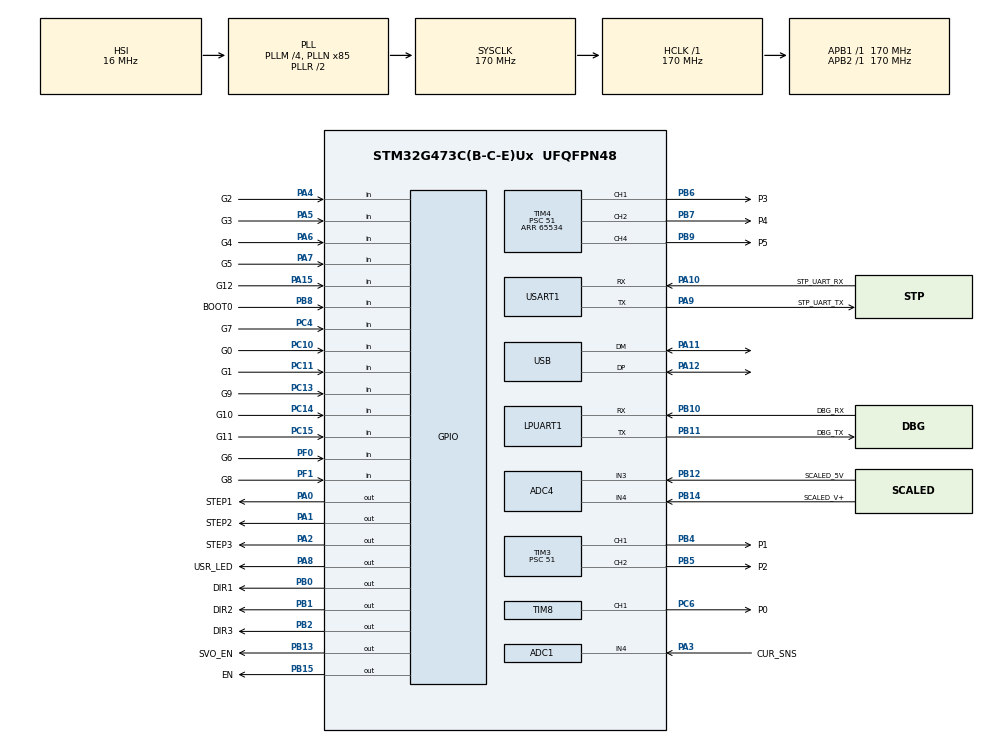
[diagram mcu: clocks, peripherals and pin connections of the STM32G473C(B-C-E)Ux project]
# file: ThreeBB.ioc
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ADC1.Channel-0\#ChannelRegularConversion=ADC_CHANNEL_4
ADC1.NbrOfConversionFlag=1
ADC1.OffsetNumber-0\#ChannelRegularConversion=ADC_OFFSET_NONE
ADC1.Rank-0\#ChannelRegularConversion=1
ADC1.SamplingTime-0\#ChannelRegularConversion=ADC_SAMPLETIME_24CYCLES_5
ADC1.master=1
ADC4.Channel-0\#ChannelRegularConversion=ADC_CHANNEL_3
ADC4.Channel-1\#ChannelRegularConversion=ADC_CHANNEL_4
ADC4.ContinuousConvMode=DISABLE
ADC4.DMAContinuousRequests=DISABLE
ADC4.EOCSelection=ADC_EOC_SINGLE_CONV
ADC4.NbrOfConversion=2
ADC4.NbrOfConversionFlag=1
ADC4.OffsetNumber-0\#ChannelRegularConversion=ADC_OFFSET_NONE
ADC4.OffsetNumber-1\#ChannelRegularConversion=ADC_OFFSET_NONE
ADC4.Overrun=ADC_OVR_DATA_OVERWRITTEN
ADC4.Rank-0\#ChannelRegularConversion=1
ADC4.Rank-1\#ChannelRegularConversion=2
ADC4.SamplingTime-0\#ChannelRegularConversion=ADC_SAMPLETIME_640CYCLES_5
ADC4.SamplingTime-1\#ChannelRegularConversion=ADC_SAMPLETIME_640CYCLES_5
Mcu.Family=STM32G4
Mcu.Name=STM32G473C(B-C-E)Ux
Mcu.Package=UFQFPN48
NVIC.ADC1_2_IRQn=true\:0\:0\:false\:false\:true\:true\:true
NVIC.ADC4_IRQn=true\:0\:0\:false\:false\:true\:true\:true
NVIC.PriorityGroup=NVIC_PRIORITYGROUP_4
NVIC.TIM6_DAC_IRQn=true\:0\:0\:false\:false\:true\:true\:true
NVIC.USB_LP_IRQn=true\:0\:0\:false\:false\:true\:false\:true
PA0.GPIO_Label=STEP1
PA0.Signal=GPIO_Output
PA1.GPIO_Label=STEP2
PA1.Signal=GPIO_Output
PA10.GPIO_Label=STP_UART_RX
PA10.GPIO_PuPd=GPIO_PULLUP
PA10.Mode=Asynchronous
PA10.Signal=USART1_RX
PA11.Mode=Device
PA11.Signal=USB_DM
PA12.Mode=Device
PA12.Signal=USB_DP
PA13.GPIO_Label=SWDIO
PA13.Mode=Serial_Wire
PA13.Signal=SYS_JTMS-SWDIO
PA14.GPIO_Label=SWCLK
PA14.Mode=Serial_Wire
PA14.Signal=SYS_JTCK-SWCLK
PA15.GPIO_Label=G12
PA15.Signal=GPIO_Input
PA2.GPIO_Label=STEP3
PA2.Signal=GPIO_Output
PA3.GPIO_Label=CUR_SNS
PA3.Mode=IN4-Single-Ended
PA3.Signal=ADC1_IN4
PA4.GPIO_Label=G2
PA4.Signal=GPIO_Input
PA5.GPIO_Label=G3
PA5.Signal=GPIO_Input
PA6.GPIO_Label=G4
PA6.Signal=GPIO_Input
PA7.GPIO_Label=G5
PA7.Signal=GPIO_Input
PA8.GPIO_Label=USR_LED
PA8.Signal=GPIO_Output
PA9.GPIO_Label=STP_UART_TX
PA9.Mode=Asynchronous
PA9.Signal=USART1_TX
PB0.GPIO_Label=DIR1
PB0.Signal=GPIO_Output
PB1.GPIO_Label=DIR2
PB1.Signal=GPIO_Output
PB10.GPIO_Label=DBG_RX
PB10.Mode=Asynchronous
PB10.Signal=LPUART1_RX
PB11.GPIO_Label=DBG_TX
PB11.Mode=Asynchronous
PB11.Signal=LPUART1_TX
PB12.GPIO_Label=SCALED_5V
PB12.Mode=IN3-Single-Ended
PB12.Signal=ADC4_IN3
PB13.GPIO_Label=SVO_EN
PB13.Signal=GPIO_Output
PB14.GPIO_Label=SCALED_V+
PB14.Mode=IN4-Single-Ended
PB14.Signal=ADC4_IN4
PB15.GPIO_Label=EN
PB15.Signal=GPIO_Output
PB2.GPIO_Label=DIR3
PB2.Signal=GPIO_Output
PB3.Signal=SYS_JTDO-SWO
PB4.GPIO_Label=P1
PB4.Signal=S_TIM3_CH1
PB5.GPIO_Label=P2
PB5.Signal=S_TIM3_CH2
PB6.GPIO_Label=P3
PB6.Signal=S_TIM4_CH1
PB7.GPIO_Label=P4
PB7.Signal=S_TIM4_CH2
PB8-BOOT0.GPIO_Label=BOOT0
PB8-BOOT0.Signal=GPIO_Input
PB9.GPIO_Label=P5
PB9.Signal=S_TIM4_CH4
PC10.GPIO_Label=G0
PC10.Signal=GPIO_Input
PC11.GPIO_Label=G1
PC11.Signal=GPIO_Input
PC13.GPIO_Label=G9
PC13.Signal=GPIO_Input
PC14-OSC32_IN.GPIO_Label=G10
PC14-OSC32_IN.Signal=GPIO_Input
PC15-OSC32_OUT.GPIO_Label=G11
PC15-OSC32_OUT.Signal=GPIO_Input
PC4.GPIO_Label=G7
PC4.Signal=GPIO_Input
PC6.GPIO_Label=P0
PC6.Signal=S_TIM8_CH1
PF0-OSC_IN.GPIO_Label=G6
PF0-OSC_IN.Signal=GPIO_Input
PF1-OSC_OUT.GPIO_Label=G8
PF1-OSC_OUT.Signal=GPIO_Input
PG10-NRST.Signal=RCC_MCO
ProjectManager.HeapSize=0x200
ProjectManager.StackSize=0x400
ProjectManager.TargetToolchain=STM32CubeIDE
RCC.ADC12Freq_Value=170000000
RCC.ADC345Freq_Value=170000000
RCC.AHBFreq_Value=170000000
RCC.APB1Freq_Value=170000000
RCC.APB1TimFreq_Value=170000000
RCC.APB2Freq_Value=170000000
RCC.APB2TimFreq_Value=170000000
RCC.CK48CLockSelection=RCC_USBCLKSOURCE_HSI48
RCC.CortexFreq_Value=170000000
RCC.EXTERNAL_CLOCK_VALUE=12288000
RCC.HCLKFreq_Value=170000000
RCC.HSE_VALUE=8000000
RCC.HSI48_VALUE=48000000
RCC.HSI_VALUE=16000000
RCC.LSE_VALUE=32768
RCC.PLLM=RCC_PLLM_DIV4
RCC.PLLN=85
RCC.PLLQ=RCC_PLLQ_DIV6
RCC.PREFETCH_ENABLE=1
RCC.RCC_MCO1Source=RCC_MCO1SOURCE_SYSCLK
RCC.RCC_MCODiv=RCC_MCODIV_16
RCC.SYSCLKFreq_VALUE=170000000
RCC.SYSCLKSource=RCC_SYSCLKSOURCE_PLLCLK
RCC.USBFreq_Value=48000000
RCC.VCOOutputFreq_Value=340000000
SH.S_TIM3_CH1.0=TIM3_CH1,PWM Generation1 CH1
SH.S_TIM3_CH2.0=TIM3_CH2,PWM Generation2 CH2
SH.S_TIM4_CH1.0=TIM4_CH1,PWM Generation1 CH1
SH.S_TIM4_CH2.0=TIM4_CH2,PWM Generation2 CH2
SH.S_TIM4_CH4.0=TIM4_CH4,PWM Generation4 CH4
SH.S_TIM8_CH1.0=TIM8_CH1,PWM Generation1 CH1
TIM3.AutoReloadPreload=TIM_AUTORELOAD_PRELOAD_ENABLE
TIM3.Channel-PWM\ Generation1\ CH1=TIM_CHANNEL_1
TIM3.Channel-PWM\ Generation2\ CH2=TIM_CHANNEL_2
TIM3.PeriodNoDither=65534
TIM3.Prescaler=51
TIM4.AutoReloadPreload=TIM_AUTORELOAD_PRELOAD_ENABLE
TIM4.Channel-PWM\ Generation1\ CH1=TIM_CHANNEL_1
TIM4.Channel-PWM\ Generation2\ CH2=TIM_CHANNEL_2
TIM4.Channel-PWM\ Generation4\ CH4=TIM_CHANNEL_4
TIM4.PeriodNoDither=65534
TIM4.Prescaler=51
TIM6.PeriodNoDither=1700
TIM8.AutoReloadPreload=TIM_AUTORELOAD_PRELOAD_ENABLE
TIM8.Channel-PWM\ Generation1\ CH1=TIM_CHANNEL_1
TIM8.PeriodNoDither=65534
TIM8.Prescaler=51
USART1.VirtualMode-Asynchronous=VM_ASYNC
USB_DEVICE.CLASS_NAME_FS=CDC
USB_DEVICE.VirtualMode=Cdc
USB_DEVICE.VirtualModeFS=Cdc_FS
VP_RCC_VS_USB.Mode=USB_FS
VP_SYS_VS_DBSignals.Mode=DisableDeadBatterySignals
VP_TIM2_VS_ClockSourceINT.Mode=Internal
VP_TIM3_VS_ClockSourceINT.Mode=Internal
VP_TIM4_VS_ClockSourceINT.Mode=Internal
VP_TIM6_VS_ClockSourceINT.Mode=Enable_Timer
VP_TIM8_VS_ClockSourceINT.Mode=Internal
VP_USB_DEVICE_VS_USB_DEVICE_CDC_FS.Mode=CDC_FS
board=custom

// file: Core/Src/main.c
/* USER CODE BEGIN Header */
/*********************************************************************
 *
 *                3BB Firmware
 *
 *********************************************************************
 * FileName:        stm32g4xx_it.c
 * Company:         Schmalz Haus LLC
 * Author:          Brian Schmalz
 *
 * Software License Agreement
 *
 * Copyright (c) 2020-2021, Brian Schmalz of Schmalz Haus LLC
 * All rights reserved.
 * Based on EiBotBoard (EBB) Firmware, written by Brian Schmalz of
 *   Schmalz Haus LLC
 *
 * Redistribution and use in source and binary forms, with or
 * without modification, are permitted provided that the following
 * conditions are met:
 *
 * 1. Redistributions of source code must retain the above
 * copyright notice, this list of conditions and the following
 * disclaimer.
 *
 * 2. Redistributions in binary form must reproduce the above
 * copyright notice, this list of conditions and the following
 * disclaimer in the documentation and/or other materials
 * provided with the distribution.
 *
 * 3. Neither the name of the copyright holder nor the names of
 * its contributors may be used to endorse or promote products
 * derived from this software without specific prior written
 * permission.
 *
 * THIS SOFTWARE IS PROVIDED BY THE COPYRIGHT HOLDERS AND
 * CONTRIBUTORS "AS IS" AND ANY EXPRESS OR IMPLIED WARRANTIES,
 * INCLUDING, BUT NOT LIMITED TO, THE IMPLIED WARRANTIES OF
 * MERCHANTABILITY AND FITNESS FOR A PARTICULAR PURPOSE ARE
 * DISCLAIMED. IN NO EVENT SHALL THE COPYRIGHT HOLDER OR
 * CONTRIBUTORS BE LIABLE FOR ANY DIRECT, INDIRECT, INCIDENTAL,
 * SPECIAL, EXEMPLARY, OR CONSEQUENTIAL DAMAGES (INCLUDING,
 * BUT NOT LIMITED TO, PROCUREMENT OF SUBSTITUTE GOODS OR
 * SERVICES; LOSS OF USE, DATA, OR PROFITS; OR BUSINESS
 * INTERRUPTION) HOWEVER CAUSED AND ON ANY THEORY OF LIABILITY,
 * WHETHER IN CONTRACT, STRICT LIABILITY, OR TORT (INCLUDING
 * NEGLIGENCE OR OTHERWISE) ARISING IN ANY WAY OUT OF THE USE
 * OF THIS SOFTWARE, EVEN IF ADVISED OF THE POSSIBILITY OF
 * SUCH DAMAGE.
 *
 *
 ******************************************************************************
 * Timer Use
 * ----------
 * TIM1    Not currently used
 * TIM2    Not currently used (could be used for STEP1/STEP2/STEP3)
 * TIM3    RC Servo outputs (CH1->P1, CH2->P2)
 * TIM4    RC Servo outputs (CH1->P3, CH2->P4, CH3->P5)
 * TIM5    Not currently used
 * TIM6    Generates 100Khz "high_isr()" for step/dir pulse generation
 * TIM7    Not currently used
 * TIM8    RC Servo output (CH1->P0)
 * TIM15   Not currently used
 * TIM16   Not currently used
 * TIM17   Not currently used
 * TIM20   Not currently used
 *
 *
 *
 *
 *
 *
 ******************************************************************************
  *
 */
/* USER CODE END Header */
#include "main.h"
#include "adc.h"
#include "usart.h"
#include "tim.h"
#include "usb_device.h"
#include "gpio.h"

/* USER CODE BEGIN Includes */
#include "usbd_cdc_if.h"
#include "retarget.h"
#include "debug.h"
#include "servo.h"
#include "serial.h"
#include "utility.h"

/* USER CODE END Includes */

/* USER CODE BEGIN PD */

#define CPU_CORE_FREQUENCY_HZ 170000000 /* CPU core frequency in Hz */

/* USER CODE END PD */

/* USER CODE BEGIN PV */

/// TODO: Use this for good, not evil. (for communicating with bootloader)
int xxx_counter __attribute__((section (".noinit")));

/* USER CODE END PV */

void SystemClock_Config(void);
/* USER CODE BEGIN PFP */
void USB_Run(void);

/* USER CODE END PFP */

int main(void)
{
  /* USER CODE BEGIN 1 */
#if defined(USING_BOOTLOADER)
  /* Change the main stack pointer. */
  __set_MSP(*(__IO uint32_t*)0x08008000);
  SCB->VTOR = 0x08008000;
#endif

  /* USER CODE END 1 */

  /* MCU Configuration--------------------------------------------------------*/

  /* Reset of all peripherals, Initializes the Flash interface and the Systick. */
  HAL_Init();

  /* Configure the system clock */
  SystemClock_Config();

  /* Initialize all configured peripherals */
  MX_GPIO_Init();
  MX_USB_Device_Init();
  MX_TIM2_Init();
  MX_TIM3_Init();
  MX_TIM4_Init();
  MX_USART1_UART_Init();
  MX_ADC4_Init();
  MX_LPUART1_UART_Init();
  MX_ADC1_Init();
  MX_TIM8_Init();
  MX_TIM6_Init();
  /* USER CODE BEGIN 2 */
  Debug_SWOInit(0x00000001, CPU_CORE_FREQUENCY_HZ, 2000000);
  RetargetInit();
  DebugInit();
  servo_Init();
  serial_Init();
  stepper_Init();

  // Just temporary
  DriversNeedInit = true;
  queue_NeedsInit = true;

  SWOprintf("3BB Application Starting.\n");
  /* USER CODE END 2 */

  /* Infinite loop */
  /* USER CODE BEGIN WHILE */
  while (1)
  {
///    DEBUG_G1_SET();
///    DEBUG_G1_RESET();
    utility_Run();
    USB_Run();
    /* USER CODE END WHILE */

  }
}

void SystemClock_Config(void)
{
  RCC_OscInitTypeDef RCC_OscInitStruct = {0};
  RCC_ClkInitTypeDef RCC_ClkInitStruct = {0};
  RCC_CRSInitTypeDef pInit = {0};

  /** Configure the main internal regulator output voltage
  */
  HAL_PWREx_ControlVoltageScaling(PWR_REGULATOR_VOLTAGE_SCALE1_BOOST);
  /** Initializes the RCC Oscillators according to the specified parameters
  * in the RCC_OscInitTypeDef structure.
  */
  RCC_OscInitStruct.OscillatorType = RCC_OSCILLATORTYPE_HSI|RCC_OSCILLATORTYPE_HSI48;
  RCC_OscInitStruct.HSIState = RCC_HSI_ON;
  RCC_OscInitStruct.HSICalibrationValue = RCC_HSICALIBRATION_DEFAULT;
  RCC_OscInitStruct.HSI48State = RCC_HSI48_ON;
  RCC_OscInitStruct.PLL.PLLState = RCC_PLL_ON;
  RCC_OscInitStruct.PLL.PLLSource = RCC_PLLSOURCE_HSI;
  RCC_OscInitStruct.PLL.PLLM = RCC_PLLM_DIV4;
  RCC_OscInitStruct.PLL.PLLN = 85;
  RCC_OscInitStruct.PLL.PLLP = RCC_PLLP_DIV2;
  RCC_OscInitStruct.PLL.PLLQ = RCC_PLLQ_DIV6;
  RCC_OscInitStruct.PLL.PLLR = RCC_PLLR_DIV2;
  if (HAL_RCC_OscConfig(&RCC_OscInitStruct) != HAL_OK)
  {
    Error_Handler();
  }
  /** Initializes the CPU, AHB and APB buses clocks
  */
  RCC_ClkInitStruct.ClockType = RCC_CLOCKTYPE_HCLK|RCC_CLOCKTYPE_SYSCLK
                              |RCC_CLOCKTYPE_PCLK1|RCC_CLOCKTYPE_PCLK2;
  RCC_ClkInitStruct.SYSCLKSource = RCC_SYSCLKSOURCE_PLLCLK;
  RCC_ClkInitStruct.AHBCLKDivider = RCC_SYSCLK_DIV1;
  RCC_ClkInitStruct.APB1CLKDivider = RCC_HCLK_DIV1;
  RCC_ClkInitStruct.APB2CLKDivider = RCC_HCLK_DIV1;

  if (HAL_RCC_ClockConfig(&RCC_ClkInitStruct, FLASH_LATENCY_4) != HAL_OK)
  {
    Error_Handler();
  }
  /** Enable the SYSCFG APB clock
  */
  __HAL_RCC_CRS_CLK_ENABLE();
  /** Configures CRS
  */
  pInit.Prescaler = RCC_CRS_SYNC_DIV1;
  pInit.Source = RCC_CRS_SYNC_SOURCE_USB;
  pInit.Polarity = RCC_CRS_SYNC_POLARITY_RISING;
  pInit.ReloadValue = __HAL_RCC_CRS_RELOADVALUE_CALCULATE(48000000,1000);
  pInit.ErrorLimitValue = 34;
  pInit.HSI48CalibrationValue = 32;

  HAL_RCCEx_CRSConfig(&pInit);
}

void Error_Handler(void)
{
}
